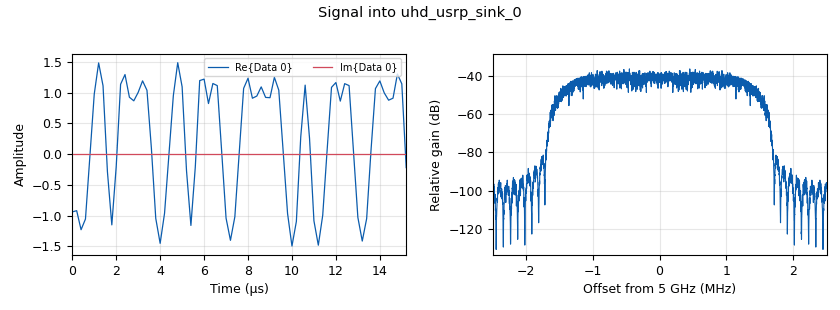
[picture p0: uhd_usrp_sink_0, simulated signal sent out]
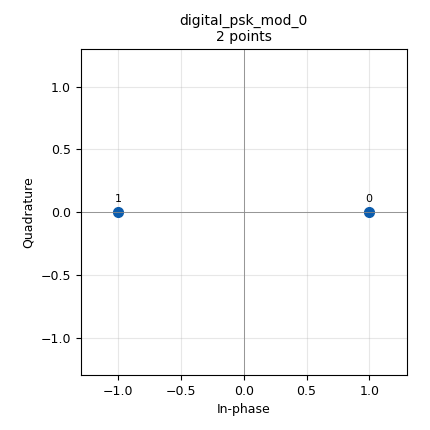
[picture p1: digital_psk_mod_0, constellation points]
<?xml version='1.0' encoding='utf-8'?>
<?grc format='1' created='3.7.8'?>
<flow_graph>
<block>
<key>options</key>
<param><key>id</key><value>top_block</value></param>
<param><key>category</key><value>Custom</value></param>
<param><key>generate_options</key><value>qt_gui</value></param>
</block>
<block>
<key>variable</key>
<param><key>id</key><value>samp_rate</value></param>
<param><key>value</key><value>5e6</value></param>
</block>
<block>
<key>analog_random_source_x</key>
<param><key>id</key><value>analog_random_source_x_0</value></param>
<param><key>_enabled</key><value>0</value></param>
<param><key>max</key><value>255</value></param>
<param><key>min</key><value>0</value></param>
<param><key>num_samps</key><value>1000</value></param>
<param><key>type</key><value>byte</value></param>
<param><key>repeat</key><value>True</value></param>
</block>
<block>
<key>blocks_message_debug</key>
<param><key>id</key><value>blocks_message_debug_0</value></param>
<param><key>_enabled</key><value>0</value></param>
</block>
<block>
<key>blocks_message_strobe</key>
<param><key>id</key><value>blocks_message_strobe_0</value></param>
<param><key>msg</key><value>pmt.intern("TEST")</value></param>
<param><key>period</key><value>1</value></param>
</block>
<block>
<key>blocks_pdu_to_tagged_stream</key>
<param><key>id</key><value>blocks_pdu_to_tagged_stream_0</value></param>
<param><key>type</key><value>byte</value></param>
<param><key>tag</key><value>packet_len</value></param>
</block>
<block>
<key>blocks_random_pdu</key>
<param><key>id</key><value>blocks_random_pdu_0</value></param>
<param><key>mask</key><value>0xFF</value></param>
<param><key>length_modulo</key><value>2</value></param>
<param><key>maxsize</key><value>4096</value></param>
<param><key>minsize</key><value>4096</value></param>
</block>
<block>
<key>blocks_tagged_stream_multiply_length</key>
<param><key>id</key><value>blocks_tagged_stream_multiply_length_0</value></param>
<param><key>type</key><value>complex</value></param>
<param><key>c</key><value>8*2</value></param>
<param><key>lengthtagname</key><value>"packet_len"</value></param>
</block>
<block>
<key>digital_psk_mod</key>
<param><key>id</key><value>digital_psk_mod_0</value></param>
<param><key>differential</key><value>False</value></param>
<param><key>excess_bw</key><value>0.35</value></param>
<param><key>mod_code</key><value>"none"</value></param>
<param><key>constellation_points</key><value>2</value></param>
<param><key>samples_per_symbol</key><value>2</value></param>
</block>
<block>
<key>uhd_usrp_sink</key>
<param><key>id</key><value>uhd_usrp_sink_0</value></param>
<param><key>ant0</key><value></value></param>
<param><key>center_freq0</key><value>5e9</value></param>
<param><key>norm_gain0</key><value>False</value></param>
<param><key>gain0</key><value>0</value></param>
<param><key>clock_rate</key><value>0.0</value></param>
<param><key>dev_addr</key><value>"addr=192.168.10.3"</value></param>
<param><key>dev_args</key><value>""</value></param>
<param><key>type</key><value>fc32</value></param>
<param><key>len_tag_name</key><value>"packet_len"</value></param>
<param><key>samp_rate</key><value>samp_rate</value></param>
<param><key>sync</key><value></value></param>
</block>
<connection><source_block_id>analog_random_source_x_0</source_block_id><sink_block_id>digital_psk_mod_0</sink_block_id><source_key>0</source_key><sink_key>0</sink_key></connection>
<connection><source_block_id>blocks_message_strobe_0</source_block_id><sink_block_id>blocks_random_pdu_0</sink_block_id><source_key>strobe</source_key><sink_key>generate</sink_key></connection>
<connection><source_block_id>blocks_pdu_to_tagged_stream_0</source_block_id><sink_block_id>digital_psk_mod_0</sink_block_id><source_key>0</source_key><sink_key>0</sink_key></connection>
<connection><source_block_id>blocks_random_pdu_0</source_block_id><sink_block_id>blocks_message_debug_0</sink_block_id><source_key>pdus</source_key><sink_key>print_pdu</sink_key></connection>
<connection><source_block_id>blocks_random_pdu_0</source_block_id><sink_block_id>blocks_pdu_to_tagged_stream_0</sink_block_id><source_key>pdus</source_key><sink_key>pdus</sink_key></connection>
<connection><source_block_id>blocks_tagged_stream_multiply_length_0</source_block_id><sink_block_id>uhd_usrp_sink_0</sink_block_id><source_key>0</source_key><sink_key>0</sink_key></connection>
<connection><source_block_id>digital_psk_mod_0</source_block_id><sink_block_id>blocks_tagged_stream_multiply_length_0</sink_block_id><source_key>0</source_key><sink_key>0</sink_key></connection>
</flow_graph>
